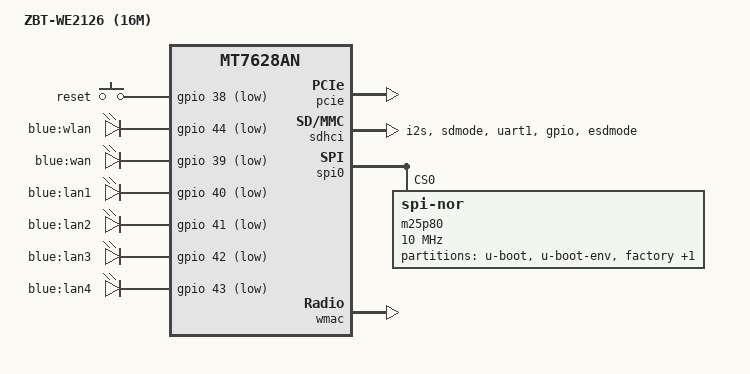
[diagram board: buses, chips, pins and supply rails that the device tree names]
#include "mt7628an.dtsi"
#include <dt-bindings/gpio/gpio.h>
#include <dt-bindings/input/input.h>

/ {
	compatible = "zbtlink,zbt-we2126", "mediatek,mt7628an-soc";
	model = "ZBT-WE2126 (16M)";

	aliases {
		led-boot = &led_wlan;
		led-failsafe = &led_wlan;
		led-running = &led_wlan;
		led-upgrade = &led_wlan;
	};
	
	chosen {
		bootargs = "console=ttyS0,115200";
	};

	keys {
		compatible = "gpio-keys-polled";
		poll-interval = <20>;
		reset {
			label = "reset";
			gpios = <&gpio 38 GPIO_ACTIVE_LOW>;
			linux,code = <KEY_RESTART>;
		};
	};

	leds {
		compatible = "gpio-leds";

		led_wlan: wlan {
			label = "blue:wlan";
			gpios = <&gpio 44 GPIO_ACTIVE_LOW>;
		};

		wan {
			label = "blue:wan";
			gpios = <&gpio 39 GPIO_ACTIVE_LOW>;
		};

		lan1 {
			label = "blue:lan1";
			gpios = <&gpio 40 GPIO_ACTIVE_LOW>;
		};

		lan2 {
			label = "blue:lan2";
			gpios = <&gpio 41 GPIO_ACTIVE_LOW>;
		};

		lan3 {
			label = "blue:lan3";
			gpios = <&gpio 42 GPIO_ACTIVE_LOW>;
		};

		lan4 {
			label = "blue:lan4";
			gpios = <&gpio 43 GPIO_ACTIVE_LOW>;
		};

	};
};

&pcie {
	status = "okay";
};

&sdhci {
	status = "okay";
	pinctrl-0 = <&sdxc_router_pins>;
};

&spi0 {
	status = "okay";

	m25p80@0 {
		compatible = "jedec,spi-nor";
		reg = <0>;
		spi-max-frequency = <10000000>;

		partitions {
			compatible = "fixed-partitions";
			#address-cells = <1>;
			#size-cells = <1>;

			partition@0 {
				label = "u-boot";
				reg = <0x0 0x30000>;
				read-only;
			};

			partition@30000 {
				label = "u-boot-env";
				reg = <0x30000 0x10000>;
				read-only;
			};

			factory: partition@40000 {
				label = "factory";
				reg = <0x40000 0x10000>;
				read-only;
			};

			partition@50000 {
				compatible = "denx,uimage";
				label = "firmware";
				reg = <0x50000 0xfb0000>;
			};
		};
	};
};

&ethernet {
	mtd-mac-address = <&factory 0x28>;
};

&wmac {
	status = "okay";
	ralink,mtd-eeprom = <&factory 0x0>;
};

&pinctrl {
	sdxc_router_pins: sdxc_router_mode {
		gpio {
			groups = "i2s", "sdmode", "uart1", "gpio";
			function = "gpio";
		};

		esdmode {
			groups = "esdmode";
			function = "sdxc";
		};
	};
	state_default: pinctrl0 {
		gpio {
			groups = "p0led_an", "p1led_an", "p2led_an", "p3led_an", "p4led_an", "wdt", "wled_an";
			function = "gpio";
		};
	};
}

;
